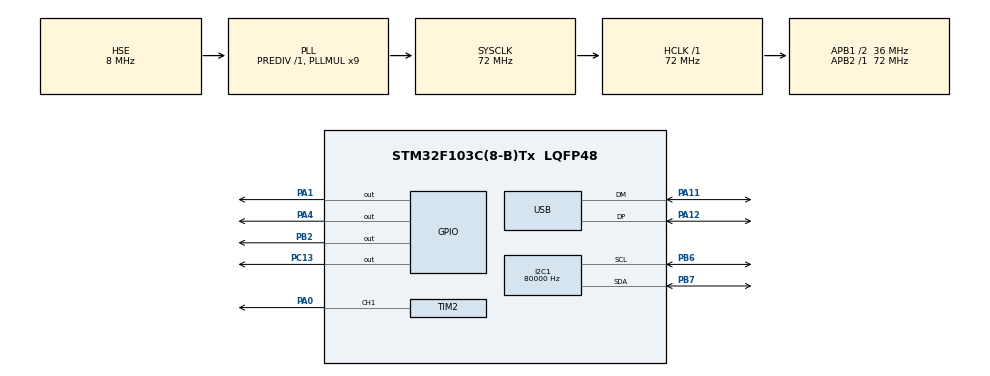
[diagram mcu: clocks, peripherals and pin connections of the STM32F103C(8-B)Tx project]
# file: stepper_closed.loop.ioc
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I2C1.ClockSpeed=80000
I2C1.I2C_Mode=I2C_Standard
Mcu.Family=STM32F1
Mcu.Name=STM32F103C(8-B)Tx
Mcu.Package=LQFP48
NVIC.I2C1_ER_IRQn=true\:0\:0\:false\:false\:true\:true\:true\:true
NVIC.PriorityGroup=NVIC_PRIORITYGROUP_4
NVIC.USB_LP_CAN1_RX0_IRQn=true\:0\:0\:false\:false\:true\:false\:true\:true
PA0-WKUP.Signal=S_TIM2_CH1_ETR
PA1.GPIO_PuPd=GPIO_NOPULL
PA1.Signal=GPIO_Output
PA11.Mode=Device
PA11.Signal=USB_DM
PA12.Mode=Device
PA12.Signal=USB_DP
PA13.Mode=Serial_Wire
PA13.Signal=SYS_JTMS-SWDIO
PA14.Mode=Serial_Wire
PA14.Signal=SYS_JTCK-SWCLK
PA4.Signal=GPIO_Output
PB2.Signal=GPIO_Output
PB6.Mode=I2C
PB6.Signal=I2C1_SCL
PB7.Mode=I2C
PB7.Signal=I2C1_SDA
PC13-TAMPER-RTC.Signal=GPIO_Output
PD0-OSC_IN.Mode=HSE-External-Oscillator
PD0-OSC_IN.Signal=RCC_OSC_IN
PD1-OSC_OUT.Mode=HSE-External-Oscillator
PD1-OSC_OUT.Signal=RCC_OSC_OUT
ProjectManager.HeapSize=0x200
ProjectManager.StackSize=0x400
ProjectManager.TargetToolchain=STM32CubeIDE
RCC.AHBFreq_Value=72000000
RCC.APB1CLKDivider=RCC_HCLK_DIV2
RCC.APB1Freq_Value=36000000
RCC.APB1TimFreq_Value=72000000
RCC.APB2Freq_Value=72000000
RCC.APB2TimFreq_Value=72000000
RCC.HCLKFreq_Value=72000000
RCC.PLLMUL=RCC_PLL_MUL9
RCC.PLLSourceVirtual=RCC_PLLSOURCE_HSE
RCC.SYSCLKFreq_VALUE=72000000
RCC.SYSCLKSource=RCC_SYSCLKSOURCE_PLLCLK
RCC.USBFreq_Value=48000000
RCC.USBPrescaler=RCC_USBCLKSOURCE_PLL_DIV1_5
SH.S_TIM2_CH1_ETR.0=TIM2_CH1,PWM Generation1 CH1
TIM2.Channel-PWM\ Generation1\ CH1=TIM_CHANNEL_1
USB_DEVICE.CLASS_NAME_FS=CDC
USB_DEVICE.VirtualMode=Cdc
USB_DEVICE.VirtualModeFS=Cdc_FS
VP_USB_DEVICE_VS_USB_DEVICE_CDC_FS.Mode=CDC_FS
board=custom

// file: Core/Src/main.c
/* USER CODE BEGIN Header */
/**
  ******************************************************************************
  * @file           : main.c
  * @brief          : Main program body
  ******************************************************************************
  * @attention
  *
  * Copyright (c) 2025 STMicroelectronics.
  * All rights reserved.
  *
  * This software is licensed under terms that can be found in the LICENSE file
  * in the root directory of this software component.
  * If no LICENSE file comes with this software, it is provided AS-IS.
  *
  ******************************************************************************
  */
/* USER CODE END Header */
#include "main.h"
#include "usb_device.h"

/* USER CODE BEGIN Includes */
#include "as5600.h"
#include "usbd_cdc_if.h"
#include "stdio.h"
#include "stepper.h"
#include "math.h"
#include <string.h>
#include <stdlib.h>
#include <stdio.h>
#define DIR_PORT          GPIOA
#define DIR_PIN           GPIO_PIN_1
extern uint8_t usb_rx_buffer[];
extern volatile uint32_t usb_rx_length;
extern volatile uint8_t usb_rx_flag;

// ---- Function prototypes ----
void Stepper_Step(uint16_t steps, GPIO_PinState dir);
void Stepper_GeneratePulse(void);
/* USER CODE END Includes */

/* USER CODE BEGIN PTD */
typedef enum {
    CMD_UNKNOWN = 0,
    CMD_PING,
    CMD_SET_POS,
    CMD_GET_POS,
    CMD_GET_POS_ANGLE
} usb_cmd_t;

/* USER CODE END PTD */

I2C_HandleTypeDef hi2c1;

TIM_HandleTypeDef htim2;

/* USER CODE BEGIN PV */
Stepper_Config_t stepper_cfg;
Stepper_State_t stepper_state;
void SystemClock_Config(void);
static void MX_GPIO_Init(void);
static void MX_I2C1_Init(void);
static void MX_TIM2_Init(void);

char buffer[32];
float angle;
static uint8_t fail_count = 0;
int received_angle_deg = 0;
/* USER CODE END PV */

void SystemClock_Config(void);
static void MX_GPIO_Init(void);
static void MX_I2C1_Init(void);
static void MX_TIM2_Init(void);

/* USER CODE BEGIN 0 */

void Stepper_SetupConfig(void) {
    stepper_cfg.hi2c = &hi2c1;               // I2C handle for AS5600
    stepper_cfg.htim_step = &htim2;          // Timer for PWM step generation
    stepper_cfg.step_channel = TIM_CHANNEL_1;// Step pin channel

    stepper_cfg.dir_port = GPIOA;            // Direction pin port
    stepper_cfg.dir_pin = GPIO_PIN_1;        // Direction pin (example: PA1)

    stepper_cfg.kp = 2.0f;                   // PID proportional gain
    stepper_cfg.ki = 0.5f;                   // PID integral gain
    stepper_cfg.kd = 0.1f;                   // PID derivative gain

    stepper_cfg.steps_per_rev = 4000.0f;      // Motor steps per revolution
    stepper_cfg.max_steps_per_sec = 2000.0f; // Max stepping speed
    stepper_cfg.angle_tolerance_deg = 1.0f;  // Stop when within 1 degree
    stepper_cfg.control_interval_ms = 7;    // PID update every 10 ms

    stepper_cfg.target_angle_deg = 180.0f;    // Target position (initially 90°)
}

static inline void usb_ok(void) {
    CDC_Transmit_FS((uint8_t*)"OK\r\n", 4);
}

static inline void usb_err(const char *err) {
    CDC_Transmit_FS((uint8_t*)err, strlen(err));
}

usb_cmd_t parse_usb_command(uint8_t *data, uint32_t len)
{
    char cmd[32];
    uint32_t i = 0;

    if (len == 0 || len >= sizeof(cmd))
        return CMD_UNKNOWN;

    /* Copy only command token (stop at space / CR / LF) EG: for something entered like SET_POS 80, it parses till blank */
    while (i < len && data[i] != ' ' && data[i] != '\r' && data[i] != '\n')
    {
        cmd[i] = data[i];
        i++;
    }
    cmd[i] = '\0';

    if (!strcmp(cmd, "PING")) return CMD_PING;
    if (!strcmp(cmd, "SET_POS")) return CMD_SET_POS;
    if (!strcmp(cmd, "GET_POS")) return CMD_GET_POS;
    if (!strcmp(cmd, "GET_POS_ANGLE")) return CMD_GET_POS_ANGLE;

    return CMD_UNKNOWN;
}

void USB_Command_Handle(uint8_t *data, uint32_t len)
{
    usb_cmd_t cmd = parse_usb_command(data, len);
    char *p = (char *)data;

    switch (cmd)
    {
    case CMD_PING:
    	usb_ok();
        break;

    case CMD_SET_POS:
    {
        while (*p && *p != ' ') { p++; }
        if (!*p) { usb_err("ERR ARG\r\n"); break; }
        p++;

        int angle = atoi(p);
        if (angle < 1 || angle > 359) {
            usb_err("ERR RANGE\r\n");
            break;
        }

        received_angle_deg=angle;
          // Combine text + value into one single message
          char msg[32];
          sprintf(msg, " Value recieved: %d\r\n", angle);

          // Send in one go (prevents empty lines)
          CDC_Transmit_FS((uint8_t*)msg, strlen(msg));
          usb_ok();
        break;
    }
    case CMD_GET_POS:
    case CMD_GET_POS_ANGLE:
    {
        char msg[32];
        snprintf(msg, sizeof(msg), "%.3f\r\n", angle);
        CDC_Transmit_FS((uint8_t *)msg, strlen(msg));
        break;
    }

    default:
        usb_err("ERR CMD\r\n");
        break;
    }
}

/* USER CODE END 0 */

int main(void)
{

  /* MCU Configuration--------------------------------------------------------*/

  /* Reset of all peripherals, Initializes the Flash interface and the Systick. */
  HAL_Init();

  /* USER CODE BEGIN Init */
  AS5600_Init(&hi2c1);
  /* USER CODE END Init */

  /* Configure the system clock */
  SystemClock_Config();

  /* Initialize all configured peripherals */
  MX_GPIO_Init();
  MX_I2C1_Init();
  MX_TIM2_Init();
  MX_USB_DEVICE_Init();
  /* USER CODE BEGIN 2 */
  CoreDebug->DEMCR |= CoreDebug_DEMCR_TRCENA_Msk;
  DWT->CTRL |= DWT_CTRL_CYCCNTENA_Msk;

 //char usb_rx_buffer[64];
 //float received_angle_deg = 0;
  Stepper_SetupConfig();
  Stepper_Init(&stepper_cfg, &stepper_state);

  HAL_TIM_PWM_Start(&htim2, TIM_CHANNEL_1);
  HAL_GPIO_WritePin(GPIOA, GPIO_PIN_3, GPIO_PIN_SET);
  //angle

 	 for(int e=0;e<1000;e++){
 		  AS5600_ReadAngle_deg(&hi2c1, &angle);
 		  stepper_cfg.target_angle_deg = angle;
 		 	 received_angle_deg=stepper_cfg.target_angle_deg;
 	 }
  //uint8_t first_sync_done = 0;
  stepper_cfg.target_angle_deg = 180;     // follow magnet
 	  	       //   Stepper_Update(&stepper_cfg, &stepper_state);
 // HAL_Delay(10000);

  /* USER CODE END 2 */

  /* Infinite loop */
  while (1)
  {

    /* USER CODE BEGIN 3 */
	  // Read angle from AS5600
	  	  if (AS5600_ReadAngle_deg(&hi2c1, &angle) == HAL_OK)
	  	   {
	  	          //Stepper_SetTarget(&stepper_cfg, angle);
	  		  	  HAL_GPIO_WritePin(GPIOB, GPIO_PIN_2, GPIO_PIN_RESET);
	  		  	  fail_count = 0;
//	  		  	if (first_sync_done == 0)
//	  		  	        {
//	  		  	            stepper_cfg.target_angle_deg = angle;
//	  		  	            first_sync_done = 1;
//	  		  	        }
	  	          stepper_cfg.target_angle_deg = 180+(float)received_angle_deg;     // follow magnet
	  	          Stepper_Update(&stepper_cfg, &stepper_state);

	  	           // Convert to integer (no decimals)
	  	           int int_angle = (int)angle;

	  	      }
	  	else
	  	        {
	  		fail_count++;
	  	  HAL_GPIO_WritePin(GPIOB, GPIO_PIN_2, GPIO_PIN_SET);
	  	            CDC_Transmit_FS((uint8_t*)"Sensor Error\r\n", 14);
	  	          if (fail_count > 3) {   // after 3 consecutive failures
	  	        	I2C_Reset_Bus(&hi2c1);
	  	                  fail_count = 0;
	  	        }
	  	        }
	  	 if( AS5600_ReadAngle_deg(&hi2c1, &angle) == HAL_ERROR)
	  	        HAL_GPIO_WritePin(GPIOB, GPIO_PIN_2, GPIO_PIN_SET);

	  	 if (usb_rx_flag)
	  	    {
	  		 usb_rx_flag = 0;       // clear immediately
	  		 USB_Command_Handle(usb_rx_buffer, usb_rx_length);
	  		 usb_rx_length = 0;
	  	    }

	   }

  /* USER CODE END 3 */
}

void SystemClock_Config(void)
{
  RCC_OscInitTypeDef RCC_OscInitStruct = {0};
  RCC_ClkInitTypeDef RCC_ClkInitStruct = {0};
  RCC_PeriphCLKInitTypeDef PeriphClkInit = {0};

  /** Initializes the RCC Oscillators according to the specified parameters
  * in the RCC_OscInitTypeDef structure.
  */
  RCC_OscInitStruct.OscillatorType = RCC_OSCILLATORTYPE_HSE;
  RCC_OscInitStruct.HSEState = RCC_HSE_ON;
  RCC_OscInitStruct.HSEPredivValue = RCC_HSE_PREDIV_DIV1;
  RCC_OscInitStruct.HSIState = RCC_HSI_ON;
  RCC_OscInitStruct.PLL.PLLState = RCC_PLL_ON;
  RCC_OscInitStruct.PLL.PLLSource = RCC_PLLSOURCE_HSE;
  RCC_OscInitStruct.PLL.PLLMUL = RCC_PLL_MUL9;
  if (HAL_RCC_OscConfig(&RCC_OscInitStruct) != HAL_OK)
  {
    Error_Handler();
  }

  /** Initializes the CPU, AHB and APB buses clocks
  */
  RCC_ClkInitStruct.ClockType = RCC_CLOCKTYPE_HCLK|RCC_CLOCKTYPE_SYSCLK
                              |RCC_CLOCKTYPE_PCLK1|RCC_CLOCKTYPE_PCLK2;
  RCC_ClkInitStruct.SYSCLKSource = RCC_SYSCLKSOURCE_PLLCLK;
  RCC_ClkInitStruct.AHBCLKDivider = RCC_SYSCLK_DIV1;
  RCC_ClkInitStruct.APB1CLKDivider = RCC_HCLK_DIV2;
  RCC_ClkInitStruct.APB2CLKDivider = RCC_HCLK_DIV1;

  if (HAL_RCC_ClockConfig(&RCC_ClkInitStruct, FLASH_LATENCY_2) != HAL_OK)
  {
    Error_Handler();
  }
  PeriphClkInit.PeriphClockSelection = RCC_PERIPHCLK_USB;
  PeriphClkInit.UsbClockSelection = RCC_USBCLKSOURCE_PLL_DIV1_5;
  if (HAL_RCCEx_PeriphCLKConfig(&PeriphClkInit) != HAL_OK)
  {
    Error_Handler();
  }
}

static void MX_I2C1_Init(void)
{

  hi2c1.Instance = I2C1;
  hi2c1.Init.ClockSpeed = 80000;
  hi2c1.Init.DutyCycle = I2C_DUTYCYCLE_2;
  hi2c1.Init.OwnAddress1 = 0;
  hi2c1.Init.AddressingMode = I2C_ADDRESSINGMODE_7BIT;
  hi2c1.Init.DualAddressMode = I2C_DUALADDRESS_DISABLE;
  hi2c1.Init.OwnAddress2 = 0;
  hi2c1.Init.GeneralCallMode = I2C_GENERALCALL_DISABLE;
  hi2c1.Init.NoStretchMode = I2C_NOSTRETCH_DISABLE;
  if (HAL_I2C_Init(&hi2c1) != HAL_OK)
  {
    Error_Handler();
  }

}

static void MX_TIM2_Init(void)
{

  TIM_MasterConfigTypeDef sMasterConfig = {0};
  TIM_OC_InitTypeDef sConfigOC = {0};

  htim2.Instance = TIM2;
  htim2.Init.Prescaler = 0;
  htim2.Init.CounterMode = TIM_COUNTERMODE_UP;
  htim2.Init.Period = 65535;
  htim2.Init.ClockDivision = TIM_CLOCKDIVISION_DIV1;
  htim2.Init.AutoReloadPreload = TIM_AUTORELOAD_PRELOAD_DISABLE;
  if (HAL_TIM_PWM_Init(&htim2) != HAL_OK)
  {
    Error_Handler();
  }
  sMasterConfig.MasterOutputTrigger = TIM_TRGO_RESET;
  sMasterConfig.MasterSlaveMode = TIM_MASTERSLAVEMODE_DISABLE;
  if (HAL_TIMEx_MasterConfigSynchronization(&htim2, &sMasterConfig) != HAL_OK)
  {
    Error_Handler();
  }
  sConfigOC.OCMode = TIM_OCMODE_PWM1;
  sConfigOC.Pulse = 0;
  sConfigOC.OCPolarity = TIM_OCPOLARITY_HIGH;
  sConfigOC.OCFastMode = TIM_OCFAST_DISABLE;
  if (HAL_TIM_PWM_ConfigChannel(&htim2, &sConfigOC, TIM_CHANNEL_1) != HAL_OK)
  {
    Error_Handler();
  }
  HAL_TIM_MspPostInit(&htim2);

}

static void MX_GPIO_Init(void)
{
  GPIO_InitTypeDef GPIO_InitStruct = {0};

  /* GPIO Ports Clock Enable */
  __HAL_RCC_GPIOC_CLK_ENABLE();
  __HAL_RCC_GPIOD_CLK_ENABLE();
  __HAL_RCC_GPIOA_CLK_ENABLE();
  __HAL_RCC_GPIOB_CLK_ENABLE();

  /*Configure GPIO pin Output Level */
  HAL_GPIO_WritePin(GPIOC, GPIO_PIN_13, GPIO_PIN_RESET);

  /*Configure GPIO pin Output Level */
  HAL_GPIO_WritePin(GPIOA, GPIO_PIN_1|GPIO_PIN_4, GPIO_PIN_RESET);

  /*Configure GPIO pin Output Level */
  HAL_GPIO_WritePin(GPIOB, GPIO_PIN_2, GPIO_PIN_RESET);

  /*Configure GPIO pin : PC13 */
  GPIO_InitStruct.Pin = GPIO_PIN_13;
  GPIO_InitStruct.Mode = GPIO_MODE_OUTPUT_PP;
  GPIO_InitStruct.Pull = GPIO_NOPULL;
  GPIO_InitStruct.Speed = GPIO_SPEED_FREQ_LOW;
  HAL_GPIO_Init(GPIOC, &GPIO_InitStruct);

  /*Configure GPIO pins : PA1 PA4 */
  GPIO_InitStruct.Pin = GPIO_PIN_1|GPIO_PIN_4;
  GPIO_InitStruct.Mode = GPIO_MODE_OUTPUT_PP;
  GPIO_InitStruct.Pull = GPIO_NOPULL;
  GPIO_InitStruct.Speed = GPIO_SPEED_FREQ_LOW;
  HAL_GPIO_Init(GPIOA, &GPIO_InitStruct);

  /*Configure GPIO pin : PB2 */
  GPIO_InitStruct.Pin = GPIO_PIN_2;
  GPIO_InitStruct.Mode = GPIO_MODE_OUTPUT_PP;
  GPIO_InitStruct.Pull = GPIO_NOPULL;
  GPIO_InitStruct.Speed = GPIO_SPEED_FREQ_LOW;
  HAL_GPIO_Init(GPIOB, &GPIO_InitStruct);

}

/* USER CODE BEGIN 4 */
void I2C_Reset_Bus(I2C_HandleTypeDef *hi2c)
{
    // 1. De-initialize the I2C peripheral
    HAL_I2C_DeInit(hi2c);

    // 2. Reconfigure the GPIO pins manually to release stuck lines
    GPIO_InitTypeDef GPIO_InitStruct = {0};

    __HAL_RCC_GPIOB_CLK_ENABLE();

    GPIO_InitStruct.Mode = GPIO_MODE_OUTPUT_OD;
    GPIO_InitStruct.Pull = GPIO_PULLUP;
    GPIO_InitStruct.Speed = GPIO_SPEED_FREQ_LOW;

    // SDA = PB7, SCL = PB6
    GPIO_InitStruct.Pin = GPIO_PIN_6 | GPIO_PIN_7;
    HAL_GPIO_Init(GPIOB, &GPIO_InitStruct);

    // 3. Toggle SCL manually to release SDA (9 clock pulses)
    for (int i = 0; i < 9; i++) {
        HAL_GPIO_WritePin(GPIOB, GPIO_PIN_6, GPIO_PIN_SET);
        HAL_Delay(1);
        HAL_GPIO_WritePin(GPIOB, GPIO_PIN_6, GPIO_PIN_RESET);
        HAL_Delay(1);
    }

    // 4. Generate a STOP condition
    HAL_GPIO_WritePin(GPIOB, GPIO_PIN_7, GPIO_PIN_RESET);
    HAL_Delay(1);
    HAL_GPIO_WritePin(GPIOB, GPIO_PIN_6, GPIO_PIN_SET);
    HAL_Delay(1);
    HAL_GPIO_WritePin(GPIOB, GPIO_PIN_7, GPIO_PIN_SET);
    HAL_Delay(1);

    // 5. Re-initialize I2C
    HAL_I2C_Init(hi2c);
}

void delay_us(uint32_t us) {
    uint32_t cycles_per_us = HAL_RCC_GetHCLKFreq() / 1000000; // SysClk MHz
    uint32_t start = DWT->CYCCNT;
    uint32_t delay_cycles = us * cycles_per_us;
    while ((DWT->CYCCNT - start) < delay_cycles);
}

/* USER CODE END 4 */

void Error_Handler(void)
{
  __disable_irq();
  while (1)
  {
  }
}
